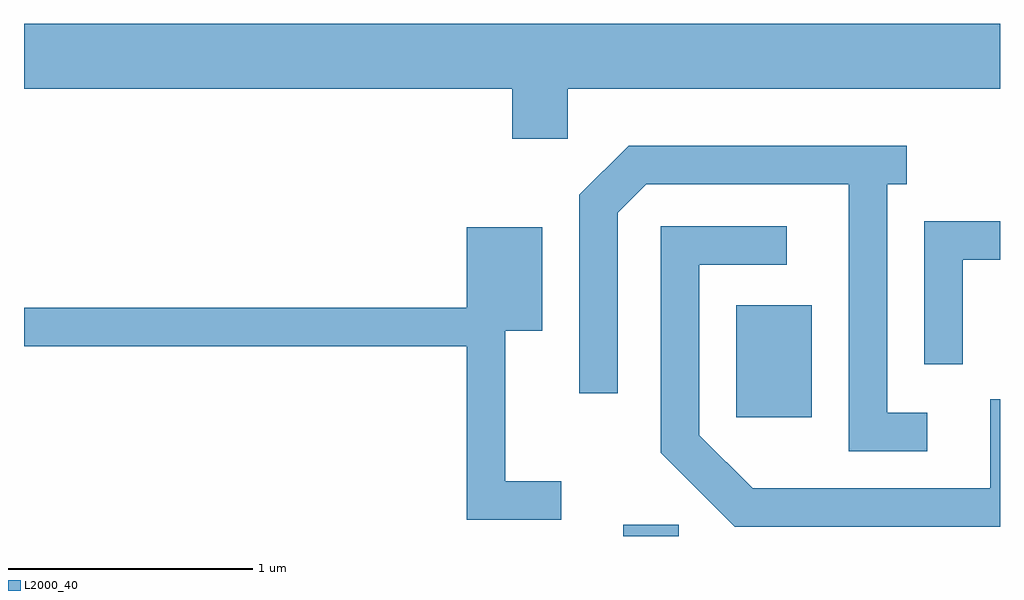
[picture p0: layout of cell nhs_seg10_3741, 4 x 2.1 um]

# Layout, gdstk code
import gdstk
lib = gdstk.Library(unit=1e-6, precision=1e-09)
def R(c, l, rs):  # rectangles x0, y0, x1, y1
    for r in rs: c.add(gdstk.rectangle(r[:2], r[2:], *l))
def P(c, l, *ps):  # polygons
    for p in ps: c.add(gdstk.Polygon(p, *l))
L2000_40 = (2000, 40)

nhs_seg10_3741 = lib.new_cell('nhs_seg10_3741')
R(nhs_seg10_3741, L2000_40, [(298.066,2116.522,298.294,2116.569), (298.531,2117.011,298.839,2117.469)])
P(nhs_seg10_3741, L2000_40, [(297.839,2118.356),(299.611,2118.356),(299.611,2118.624),(295.611,2118.624),(295.611,2118.356),(297.611,2118.356),(297.611,2118.151),(297.839,2118.151)],
  [(299.313,2117.029),(299.149,2117.029),(299.149,2117.966),(299.228,2117.966),(299.228,2118.124),(298.089,2118.124),(297.886,2117.922),(297.886,2117.108),(298.044,2117.108),(298.044,2117.849),(298.162,2117.966),(298.991,2117.966),(298.991,2116.871),(299.313,2116.871)],
  [(299.459,2117.656),(299.611,2117.656),(299.611,2117.814),(299.301,2117.814),(299.301,2117.228),(299.459,2117.228)],
  [(299.611,2117.084),(299.571,2117.084),(299.571,2116.719),(298.597,2116.719),(298.379,2116.937),(298.379,2117.636),(298.738,2117.636),(298.738,2117.794),(298.221,2117.794),(298.221,2116.864),(298.524,2116.561),(299.611,2116.561)],
  [(297.813,2116.749),(297.584,2116.749),(297.584,2117.366),(297.734,2117.366),(297.734,2117.789),(297.426,2117.789),(297.426,2117.459),(295.611,2117.459),(295.611,2117.301),(297.426,2117.301),(297.426,2116.591),(297.813,2116.591)])

lib.write_gds('nhs_seg10_3741.gds')
